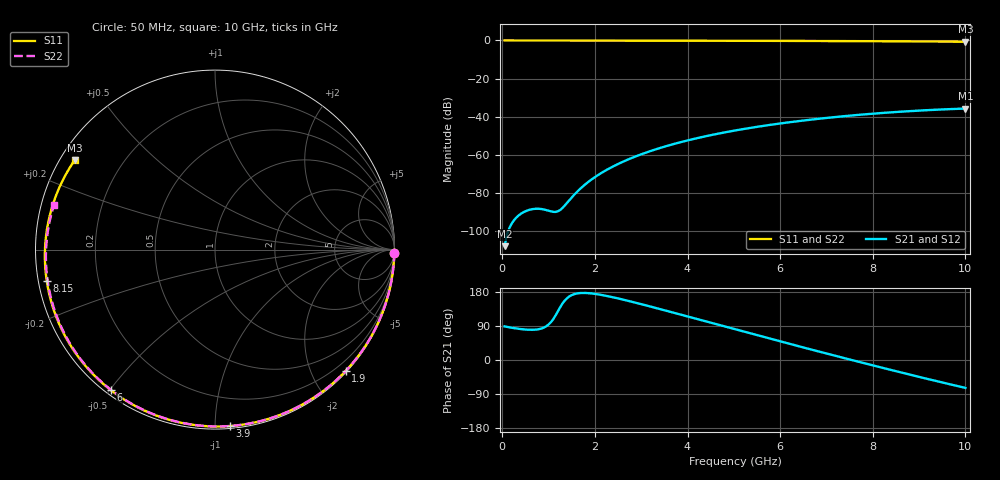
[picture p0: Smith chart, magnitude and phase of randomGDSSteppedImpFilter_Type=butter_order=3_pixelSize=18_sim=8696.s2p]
! freq	dB(S11)	phase(S11)	dB(S12)	phase(S12)
!  dB(S21)	phase(S21)	dB(S22)	phase(S22)
!S-par simulation data
#  GHz  S  DB  R 50
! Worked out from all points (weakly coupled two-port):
!   200 points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, 50 MHz to 10 GHz, reference 50 ohm
!   highest |S21| = -35.79 dB at 10 GHz (marker M1); lowest = -108.1 dB at 50 MHz (marker M2)
!   lowest |S11| = -0.7 dB at 10 GHz (marker M3), VSWR 26.44, Z = 2.05 + j14.6 ohm
!   |S11| at or under -10 dB: nowhere
!   |S22| runs from -0.6 to 0.0 dB; largest |S21 - S12| = 0
!   S11 on the Smith chart (normalised r, x): 50 MHz: open; 1.9 GHz: 0.02, -2.55; 3.9 GHz: 0.01, -1.09; 6 GHz: 0.02, -0.50; 8.15 GHz: 0.02, -0.09; 10 GHz: 0.04, +0.29
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0.05  -0.00 -1.1  -108.12 88.7  -108.12 88.7  -0.00 -1.1
0.8  -0.02 -18.3  -88.49 81.6  -88.49 81.6  -0.02 -17.2
1.55  -0.04 -35.2  -81.16 173.6  -81.16 173.6  -0.04 -33.1
1.6  -0.05 -36.3  -79.89 175.2  -79.89 175.2  -0.04 -34.2
1.75  -0.05 -39.6  -76.48 176.9  -76.48 176.9  -0.05 -37.3
1.9  -0.05 -42.9  -73.56 176.0  -73.56 176.0  -0.05 -40.4
2.2  -0.06 -49.4  -68.77 170.4  -68.77 170.4  -0.06 -46.6
2.55  -0.07 -57.0  -64.36 161.1  -64.36 161.1  -0.07 -53.7
2.95  -0.08 -65.5  -60.29 149.0  -60.29 149.0  -0.08 -61.7
3.4  -0.10 -74.9  -56.57 134.6  -56.57 134.6  -0.09 -70.6
3.9  -0.12 -85.1  -53.16 118.2  -53.16 118.2  -0.11 -80.2
4.45  -0.14 -96.1  -50.04 100.0  -50.04 100.0  -0.13 -90.6
5.05  -0.17 -108.0  -47.22 80.2  -47.22 80.2  -0.16 -101.7
6  -0.22 -126.4  -43.64 49.2  -43.64 49.2  -0.21 -119.0
6.7  -0.27 -140.1  -41.52 26.7  -41.52 26.7  -0.26 -131.5
7.45  -0.34 -155.0  -39.65 3.0  -39.65 3.0  -0.32 -145.1
8.15  -0.41 -169.4  -38.22 -18.8  -38.22 -18.8  -0.39 -158.1
8.35  -0.44 -173.7  -37.86 -24.9  -37.86 -24.9  -0.41 -161.9
8.8  -0.49 176.5  -37.14 -38.6  -37.14 -38.6  -0.46 -170.6
9.2  -0.54 167.3  -36.61 -50.5  -36.61 -50.5  -0.52 -178.6
9.6  -0.60 157.6  -36.15 -62.2  -36.15 -62.2  -0.57 173.2
10  -0.66 147.5  -35.79 -73.6  -35.79 -73.6  -0.63 164.5
